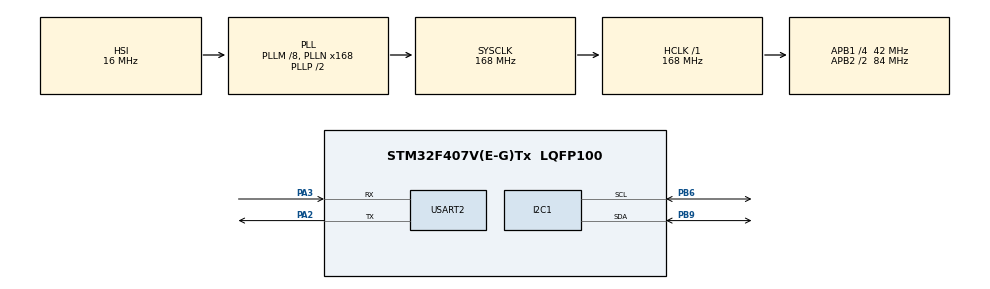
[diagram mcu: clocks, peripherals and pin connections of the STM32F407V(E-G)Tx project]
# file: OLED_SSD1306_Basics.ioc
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Mcu.Family=STM32F4
Mcu.Name=STM32F407V(E-G)Tx
Mcu.Package=LQFP100
NVIC.PriorityGroup=NVIC_PRIORITYGROUP_4
PA13.Mode=Serial_Wire
PA13.Signal=SYS_JTMS-SWDIO
PA14.Mode=Serial_Wire
PA14.Signal=SYS_JTCK-SWCLK
PA2.Mode=Asynchronous
PA2.Signal=USART2_TX
PA3.Mode=Asynchronous
PA3.Signal=USART2_RX
PB6.Mode=I2C
PB6.Signal=I2C1_SCL
PB9.Mode=I2C
PB9.Signal=I2C1_SDA
PH0-OSC_IN.Mode=HSE-External-Oscillator
PH0-OSC_IN.Signal=RCC_OSC_IN
PH1-OSC_OUT.Mode=HSE-External-Oscillator
PH1-OSC_OUT.Signal=RCC_OSC_OUT
ProjectManager.HeapSize=0x200
ProjectManager.StackSize=0x400
ProjectManager.TargetToolchain=STM32CubeIDE
RCC.48MHZClocksFreq_Value=84000000
RCC.AHBFreq_Value=168000000
RCC.APB1CLKDivider=RCC_HCLK_DIV4
RCC.APB1Freq_Value=42000000
RCC.APB1TimFreq_Value=84000000
RCC.APB2CLKDivider=RCC_HCLK_DIV2
RCC.APB2Freq_Value=84000000
RCC.APB2TimFreq_Value=168000000
RCC.CortexFreq_Value=168000000
RCC.HCLKFreq_Value=168000000
RCC.HSE_VALUE=8000000
RCC.HSI_VALUE=16000000
RCC.LSE_VALUE=32768
RCC.PLLM=8
RCC.PLLN=168
RCC.SYSCLKFreq_VALUE=168000000
RCC.SYSCLKSource=RCC_SYSCLKSOURCE_PLLCLK
RCC.VCOOutputFreq_Value=336000000
USART2.VirtualMode=VM_ASYNC
board=custom

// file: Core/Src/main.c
/* USER CODE BEGIN Header */
/**
  ******************************************************************************
  * @file           : main.c
  * @brief          : Main program body
  ******************************************************************************
  * @attention
  *
  * Copyright (c) 2026 STMicroelectronics.
  * All rights reserved.
  *
  * This software is licensed under terms that can be found in the LICENSE file
  * in the root directory of this software component.
  * If no LICENSE file comes with this software, it is provided AS-IS.
  *
  ******************************************************************************
  */
/* USER CODE END Header */
#include "main.h"

/* USER CODE BEGIN Includes */
#include <stdio.h>
#include <string.h>
/* USER CODE END Includes */

/* USER CODE BEGIN PD */
#define OLED_I2C_ADDR (0x3C << 1)
/* USER CODE END PD */

I2C_HandleTypeDef hi2c1;

UART_HandleTypeDef huart2;

void SystemClock_Config(void);
static void MX_GPIO_Init(void);
static void MX_I2C1_Init(void);
static void MX_USART2_UART_Init(void);

/* USER CODE BEGIN 0 */
void OLED_WriteCommand(uint8_t cmd)
{
    HAL_I2C_Mem_Write(&hi2c1, OLED_I2C_ADDR, 0x00, I2C_MEMADD_SIZE_8BIT, &cmd, 1, HAL_MAX_DELAY);
}

void OLED_WriteData(uint8_t data)
{
    HAL_I2C_Mem_Write(&hi2c1, OLED_I2C_ADDR, 0x40, I2C_MEMADD_SIZE_8BIT, &data, 1, HAL_MAX_DELAY);
}

void OLED_Init(void)
{
    OLED_WriteCommand(0x8D); OLED_WriteCommand(0x14); // enable charge pump
    HAL_Delay(10);
    OLED_WriteCommand(0xA8); OLED_WriteCommand(0x3F); // mux ratio = 64
    OLED_WriteCommand(0xD3); OLED_WriteCommand(0x00); // display offset = 0
    OLED_WriteCommand(0x40);                           // display start line = 0
    OLED_WriteCommand(0xA1);                           // segment re-map
    OLED_WriteCommand(0xC8);                           // COM scan direction remapped
    OLED_WriteCommand(0x81); OLED_WriteCommand(0x7F); // contrast mid-range
    OLED_WriteCommand(0xA4);                           // display follows RAM
    OLED_WriteCommand(0xA6);                           // normal (non-inverted)
    OLED_WriteCommand(0xD5); OLED_WriteCommand(0x80); // clock divide / osc freq
    OLED_WriteCommand(0xDA); OLED_WriteCommand(0x12); // COM pins hw config
    OLED_WriteCommand(0xAF);                           // display ON
    HAL_Delay(100);
    //OLED_WriteCommand(0xA5); // force entire display ON, bypass RAM/framebuffer

    HAL_StatusTypeDef status = HAL_I2C_IsDeviceReady(&hi2c1, OLED_I2C_ADDR, 2, 10);
    char dbg[64];
    sprintf(dbg, "Post-init bus check: %s\r\n", status == HAL_OK ? "OK" : "FAIL");
    HAL_UART_Transmit(&huart2, (uint8_t*)dbg, strlen(dbg), 100);
}

void OLED_Clear(void)
{
    for (uint8_t page = 0; page < 8; page++) {
        OLED_WriteCommand(0xB0 + page); // set page start address (0-7)
        OLED_WriteCommand(0x00);        // lower nibble of column start = 0
        OLED_WriteCommand(0x10);        // upper nibble of column start = 0
        for (uint8_t col = 0; col < 128; col++) {
            OLED_WriteData(0x00);
        }
    }
}

uint8_t OLED_Buffer[128 * 8];

void OLED_Buffer_Clear(void)
{
    memset(OLED_Buffer, 0x00, sizeof(OLED_Buffer));
}

void OLED_SetPixel(uint8_t x, uint8_t y, uint8_t color)
{
    if (x >= 128 || y >= 64) return;
    uint16_t index = x + (y / 8) * 128;
    uint8_t bit = y % 8;
    if (color) {
        OLED_Buffer[index] |= (1 << bit);
    } else {
        OLED_Buffer[index] &= ~(1 << bit);
    }
}

void OLED_UpdateScreen(void)
{
    for (uint8_t page = 0; page < 8; page++) {
        OLED_WriteCommand(0xB0 + page);
        OLED_WriteCommand(0x00);
        OLED_WriteCommand(0x10);
        for (uint8_t col = 0; col < 128; col++) {
            OLED_WriteData(OLED_Buffer[col + page * 128]);
        }
    }
}

const uint8_t Font5x7[][5] = {
    {0x00,0x00,0x00,0x00,0x00}, // space
    {0x3E,0x51,0x49,0x45,0x3E}, // 0
    {0x00,0x42,0x7F,0x40,0x00}, // 1
    {0x42,0x61,0x51,0x49,0x46}, // 2
    {0x21,0x41,0x45,0x4B,0x31}, // 3
    {0x18,0x14,0x12,0x7F,0x10}, // 4
    {0x27,0x45,0x45,0x45,0x39}, // 5
    {0x3C,0x4A,0x49,0x49,0x30}, // 6
    {0x01,0x71,0x09,0x05,0x03}, // 7
    {0x36,0x49,0x49,0x49,0x36}, // 8
    {0x06,0x49,0x49,0x29,0x1E}, // 9
    {0x7E,0x11,0x11,0x11,0x7E}, // A
    {0x7F,0x49,0x49,0x49,0x36}, // B
    {0x3E,0x41,0x41,0x41,0x22}, // C
    {0x7F,0x41,0x41,0x22,0x1C}, // D
    {0x7F,0x49,0x49,0x49,0x41}, // E
    {0x7F,0x09,0x09,0x09,0x01}, // F
    {0x3E,0x41,0x49,0x49,0x7A}, // G
    {0x7F,0x08,0x08,0x08,0x7F}, // H
    {0x00,0x41,0x7F,0x41,0x00}, // I
    {0x20,0x40,0x41,0x3F,0x01}, // J
    {0x7F,0x08,0x14,0x22,0x41}, // K
    {0x7F,0x40,0x40,0x40,0x40}, // L
    {0x7F,0x02,0x0C,0x02,0x7F}, // M
    {0x7F,0x04,0x08,0x10,0x7F}, // N
    {0x3E,0x41,0x41,0x41,0x3E}, // O
    {0x7F,0x09,0x09,0x09,0x06}, // P
    {0x3E,0x41,0x51,0x21,0x5E}, // Q
    {0x7F,0x09,0x19,0x29,0x46}, // R
    {0x46,0x49,0x49,0x49,0x31}, // S
    {0x01,0x01,0x7F,0x01,0x01}, // T
    {0x3F,0x40,0x40,0x40,0x3F}, // U
    {0x1F,0x20,0x40,0x20,0x1F}, // V
    {0x3F,0x40,0x38,0x40,0x3F}, // W
    {0x63,0x14,0x08,0x14,0x63}, // X
    {0x07,0x08,0x70,0x08,0x07}, // Y
    {0x61,0x51,0x49,0x45,0x43}, // Z
    {0x00,0x60,0x60,0x00,0x00}, // .
};

uint8_t OLED_GetFontIndex(char c)
{
    if (c == ' ') return 0;
    if (c >= '0' && c <= '9') return 1 + (c - '0');
    if (c >= 'A' && c <= 'Z') return 11 + (c - 'A');
    if (c == '.') return 37;
    return 0;
}

void OLED_DrawChar(uint8_t x, uint8_t y, char c)
{
    uint8_t idx = OLED_GetFontIndex(c);
    for (uint8_t col = 0; col < 5; col++) {
        uint8_t colData = Font5x7[idx][col];
        for (uint8_t row = 0; row < 7; row++) {
            OLED_SetPixel(x + col, y + row, (colData >> row) & 0x01);
        }
    }
}

void OLED_DrawString(uint8_t x, uint8_t y, const char *str)
{
    while (*str) {
        OLED_DrawChar(x, y, *str);
        x += 6;
        str++;
    }
}

void OLED_DrawCircle(int x0, int y0, int radius, uint8_t color)
{
    int x = radius, y = 0;
    int err = 0;
    while (x >= y) {
        OLED_SetPixel(x0 + x, y0 + y, color);
        OLED_SetPixel(x0 + y, y0 + x, color);
        OLED_SetPixel(x0 - y, y0 + x, color);
        OLED_SetPixel(x0 - x, y0 + y, color);
        OLED_SetPixel(x0 - x, y0 - y, color);
        OLED_SetPixel(x0 - y, y0 - x, color);
        OLED_SetPixel(x0 + y, y0 - x, color);
        OLED_SetPixel(x0 + x, y0 - y, color);
        y += 1;
        err += 1 + 2*y;
        if (2*err - 2*x + 1 > 0) {
            x -= 1;
            err += 1 - 2*x;
        }
    }
}

void OLED_FillCircle(int x0, int y0, int radius, uint8_t color)
{
    for (int y = -radius; y <= radius; y++) {
        for (int x = -radius; x <= radius; x++) {
            if (x*x + y*y <= radius*radius) {
                OLED_SetPixel(x0 + x, y0 + y, color);
            }
        }
    }
}

void OLED_DrawRect(int x0, int y0, int width, int height, uint8_t color)
{
    for (int x = x0; x < x0 + width; x++) {
        OLED_SetPixel(x, y0, color);
        OLED_SetPixel(x, y0 + height - 1, color);
    }
    for (int y = y0; y < y0 + height; y++) {
        OLED_SetPixel(x0, y, color);
        OLED_SetPixel(x0 + width - 1, y, color);
    }
}
/* USER CODE END 0 */

int main(void)
{

  /* MCU Configuration--------------------------------------------------------*/

  /* Reset of all peripherals, Initializes the Flash interface and the Systick. */
  HAL_Init();

  /* Configure the system clock */
  SystemClock_Config();

  /* Initialize all configured peripherals */
  MX_GPIO_Init();
  MX_I2C1_Init();
  MX_USART2_UART_Init();
  /* USER CODE BEGIN 2 */
  char msg[64];
  uint8_t found = 0;

  for (uint16_t addr = 1; addr < 128; addr++) {
      if (HAL_I2C_IsDeviceReady(&hi2c1, (addr << 1), 2, 10) == HAL_OK) {
          sprintf(msg, "Found device at 0x%02X\r\n", addr);
          HAL_UART_Transmit(&huart2, (uint8_t*)msg, strlen(msg), 100);
          found = 1;
      }
  }

  if (!found) {
      sprintf(msg, "No I2C devices found\r\n");
      HAL_UART_Transmit(&huart2, (uint8_t*)msg, strlen(msg), 100);
  }

  OLED_Init();
  HAL_Delay(100);

  /* USER CODE END 2 */

  /* Infinite loop */
  /* USER CODE BEGIN WHILE */
  while (1)
  {
	  /* OPEN EYES */
	    OLED_Buffer_Clear();

	    OLED_DrawRect(20, 6, 88, 52, 1);

	    /* Left eyebrow */
	    for(int x = -10; x <= 10; x++)
	    {
	        int y = (x * x) / 25;
	        OLED_SetPixel(42 + x, 14 + y, 1);
	    }

	    /* Right eyebrow */
	    for(int x = -10; x <= 10; x++)
	    {
	        int y = (x * x) / 25;
	        OLED_SetPixel(86 + x, 14 + y, 1);
	    }

	    /* Left eye */
	    OLED_DrawCircle(42, 28, 10, 1);
	    OLED_DrawCircle(42, 28, 7, 1);
	    OLED_DrawCircle(42, 28, 4, 1);
	    OLED_FillCircle(42, 28, 1, 1);

	    /* Right eye */
	    OLED_DrawCircle(86, 28, 10, 1);
	    OLED_DrawCircle(86, 28, 7, 1);
	    OLED_DrawCircle(86, 28, 4, 1);
	    OLED_FillCircle(86, 28, 1, 1);

	    /* Flirty smile */
	    for(int x = -12; x <= 12; x++)
	    {
	        int y = (x * x) / 35;
	        OLED_SetPixel(64 + x, 44 - y, 1);
	    }

	    OLED_UpdateScreen();
	    HAL_Delay(500);

	    /* WINK */
	    OLED_Buffer_Clear();

	    OLED_DrawRect(20, 6, 88, 52, 1);

	    /* Left eyebrow */
	    for(int x = -10; x <= 10; x++)
	    {
	        int y = (x * x) / 25;
	        OLED_SetPixel(42 + x, 14 + y, 1);
	    }

	    /* Right eyebrow raised */
	    for(int x = -10; x <= 10; x++)
	    {
	        int y = (x * x) / 25;
	        OLED_SetPixel(86 + x, 12 + y, 1);
	    }

	    /* Left eye open */
	    OLED_DrawCircle(42, 28, 10, 1);
	    OLED_DrawCircle(42, 28, 7, 1);
	    OLED_DrawCircle(42, 28, 4, 1);
	    OLED_FillCircle(42, 28, 1, 1);

	    /* Right eye wink */
	    for(int x = -10; x <= 10; x++)
	    {
	        OLED_SetPixel(86 + x, 28, 1);
	        OLED_SetPixel(86 + x, 29, 1);
	    }

	    /* Flirty smile */
	    for(int x = -12; x <= 12; x++)
	    {
	        int y = (x * x) / 35;
	        OLED_SetPixel(64 + x, 44 - y, 1);
	    }

	    OLED_UpdateScreen();
	    HAL_Delay(250);
	}
    /* USER CODE END WHILE */

  }

void SystemClock_Config(void)
{
  RCC_OscInitTypeDef RCC_OscInitStruct = {0};
  RCC_ClkInitTypeDef RCC_ClkInitStruct = {0};

  /** Configure the main internal regulator output voltage
  */
  __HAL_RCC_PWR_CLK_ENABLE();
  __HAL_PWR_VOLTAGESCALING_CONFIG(PWR_REGULATOR_VOLTAGE_SCALE1);

  /** Initializes the RCC Oscillators according to the specified parameters
  * in the RCC_OscInitTypeDef structure.
  */
  RCC_OscInitStruct.OscillatorType = RCC_OSCILLATORTYPE_HSI;
  RCC_OscInitStruct.HSIState = RCC_HSI_ON;
  RCC_OscInitStruct.HSICalibrationValue = RCC_HSICALIBRATION_DEFAULT;
  RCC_OscInitStruct.PLL.PLLState = RCC_PLL_ON;
  RCC_OscInitStruct.PLL.PLLSource = RCC_PLLSOURCE_HSI;
  RCC_OscInitStruct.PLL.PLLM = 8;
  RCC_OscInitStruct.PLL.PLLN = 168;
  RCC_OscInitStruct.PLL.PLLP = RCC_PLLP_DIV2;
  RCC_OscInitStruct.PLL.PLLQ = 4;
  if (HAL_RCC_OscConfig(&RCC_OscInitStruct) != HAL_OK)
  {
    Error_Handler();
  }

  /** Initializes the CPU, AHB and APB buses clocks
  */
  RCC_ClkInitStruct.ClockType = RCC_CLOCKTYPE_HCLK|RCC_CLOCKTYPE_SYSCLK
                              |RCC_CLOCKTYPE_PCLK1|RCC_CLOCKTYPE_PCLK2;
  RCC_ClkInitStruct.SYSCLKSource = RCC_SYSCLKSOURCE_PLLCLK;
  RCC_ClkInitStruct.AHBCLKDivider = RCC_SYSCLK_DIV1;
  RCC_ClkInitStruct.APB1CLKDivider = RCC_HCLK_DIV4;
  RCC_ClkInitStruct.APB2CLKDivider = RCC_HCLK_DIV2;

  if (HAL_RCC_ClockConfig(&RCC_ClkInitStruct, FLASH_LATENCY_5) != HAL_OK)
  {
    Error_Handler();
  }
}

static void MX_I2C1_Init(void)
{

  hi2c1.Instance = I2C1;
  hi2c1.Init.ClockSpeed = 100000;
  hi2c1.Init.DutyCycle = I2C_DUTYCYCLE_2;
  hi2c1.Init.OwnAddress1 = 0;
  hi2c1.Init.AddressingMode = I2C_ADDRESSINGMODE_7BIT;
  hi2c1.Init.DualAddressMode = I2C_DUALADDRESS_DISABLE;
  hi2c1.Init.OwnAddress2 = 0;
  hi2c1.Init.GeneralCallMode = I2C_GENERALCALL_DISABLE;
  hi2c1.Init.NoStretchMode = I2C_NOSTRETCH_DISABLE;
  if (HAL_I2C_Init(&hi2c1) != HAL_OK)
  {
    Error_Handler();
  }

}

static void MX_USART2_UART_Init(void)
{

  huart2.Instance = USART2;
  huart2.Init.BaudRate = 115200;
  huart2.Init.WordLength = UART_WORDLENGTH_8B;
  huart2.Init.StopBits = UART_STOPBITS_1;
  huart2.Init.Parity = UART_PARITY_NONE;
  huart2.Init.Mode = UART_MODE_TX_RX;
  huart2.Init.HwFlowCtl = UART_HWCONTROL_NONE;
  huart2.Init.OverSampling = UART_OVERSAMPLING_16;
  if (HAL_UART_Init(&huart2) != HAL_OK)
  {
    Error_Handler();
  }

}

static void MX_GPIO_Init(void)
{

  /* GPIO Ports Clock Enable */
  __HAL_RCC_GPIOH_CLK_ENABLE();
  __HAL_RCC_GPIOA_CLK_ENABLE();
  __HAL_RCC_GPIOB_CLK_ENABLE();

}

/* USER CODE BEGIN 4 */
int _write(int file, char *ptr, int len)
{
    HAL_UART_Transmit(&huart2, (uint8_t*)ptr, len, HAL_MAX_DELAY);
    return len;
}
/* USER CODE END 4 */

void Error_Handler(void)
{
  __disable_irq();
  while (1)
  {
  }
}
